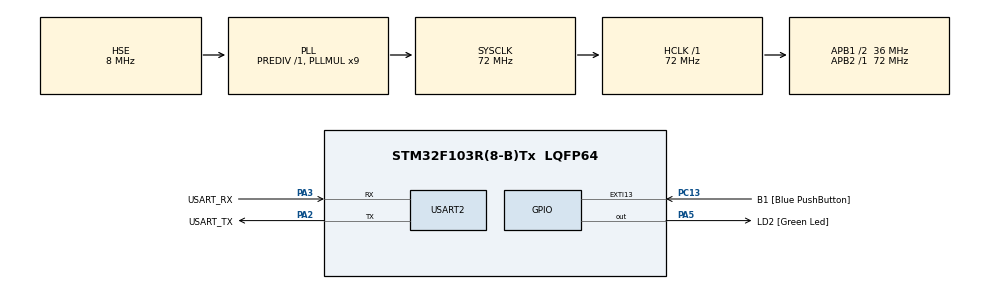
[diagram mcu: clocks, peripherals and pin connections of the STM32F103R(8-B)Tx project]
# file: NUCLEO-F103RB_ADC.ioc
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ADC1.Channel-0\#ChannelRegularConversion=ADC_CHANNEL_VREFINT
ADC1.NbrOfConversionFlag=1
ADC1.Rank-0\#ChannelRegularConversion=1
ADC1.SamplingTime-0\#ChannelRegularConversion=ADC_SAMPLETIME_1CYCLE_5
ADC1.master=1
Dma.Request0=USART2_RX
Dma.USART2_RX.0.Direction=DMA_PERIPH_TO_MEMORY
Dma.USART2_RX.0.Instance=DMA1_Channel6
Dma.USART2_RX.0.MemDataAlignment=DMA_MDATAALIGN_BYTE
Dma.USART2_RX.0.MemInc=DMA_MINC_ENABLE
Dma.USART2_RX.0.Mode=DMA_CIRCULAR
Dma.USART2_RX.0.PeriphDataAlignment=DMA_PDATAALIGN_BYTE
Dma.USART2_RX.0.PeriphInc=DMA_PINC_DISABLE
Dma.USART2_RX.0.Priority=DMA_PRIORITY_LOW
Mcu.Family=STM32F1
Mcu.Name=STM32F103R(8-B)Tx
Mcu.Package=LQFP64
NVIC.DMA1_Channel6_IRQn=true\:0\:0\:false\:false\:true\:false\:true\:true
NVIC.EXTI15_10_IRQn=true\:0\:0\:false\:false\:true\:true\:true\:true
NVIC.PriorityGroup=NVIC_PRIORITYGROUP_4
PA13.GPIO_Label=TMS
PA13.Mode=Serial_Wire
PA13.Signal=SYS_JTMS-SWDIO
PA14.GPIO_Label=TCK
PA14.Mode=Serial_Wire
PA14.Signal=SYS_JTCK-SWCLK
PA2.GPIO_Label=USART_TX
PA2.GPIO_Mode=GPIO_MODE_AF_PP
PA2.GPIO_PuPd=GPIO_NOPULL
PA2.GPIO_Speed=GPIO_SPEED_FREQ_LOW
PA2.Mode=Asynchronous
PA2.Signal=USART2_TX
PA3.GPIO_Label=USART_RX
PA3.GPIO_Mode=GPIO_MODE_AF_PP
PA3.GPIO_PuPd=GPIO_NOPULL
PA3.GPIO_Speed=GPIO_SPEED_FREQ_LOW
PA3.Mode=Asynchronous
PA3.Signal=USART2_RX
PA5.GPIO_Label=LD2 [Green Led]
PA5.GPIO_ModeDefaultOutputPP=GPIO_MODE_OUTPUT_PP
PA5.GPIO_PuPd=GPIO_NOPULL
PA5.GPIO_Speed=GPIO_SPEED_FREQ_LOW
PA5.Signal=GPIO_Output
PB3.GPIO_Label=SWO
PB3.Signal=SYS_JTDO-TRACESWO
PC13-TAMPER-RTC.GPIO_Label=B1 [Blue PushButton]
PC13-TAMPER-RTC.GPIO_PuPd=GPIO_NOPULL
PC13-TAMPER-RTC.Signal=GPXTI13
PC14-OSC32_IN.Mode=LSE-External-Oscillator
PC14-OSC32_IN.Signal=RCC_OSC32_IN
PC15-OSC32_OUT.Mode=LSE-External-Oscillator
PC15-OSC32_OUT.Signal=RCC_OSC32_OUT
PD0-OSC_IN.Mode=HSE-External-Clock-Source
PD0-OSC_IN.Signal=RCC_OSC_IN
PD1-OSC_OUT.Mode=HSE-External-Clock-Source
PD1-OSC_OUT.Signal=RCC_OSC_OUT
ProjectManager.HeapSize=0x400
ProjectManager.StackSize=0x400
ProjectManager.TargetToolchain=STM32CubeIDE
RCC.ADCPresc=RCC_ADCPCLK2_DIV6
RCC.AHBFreq_Value=72000000
RCC.APB1CLKDivider=RCC_HCLK_DIV2
RCC.APB1Freq_Value=36000000
RCC.APB1TimFreq_Value=72000000
RCC.APB2Freq_Value=72000000
RCC.APB2TimFreq_Value=72000000
RCC.HCLKFreq_Value=72000000
RCC.PLLMUL=RCC_PLL_MUL9
RCC.PLLSourceVirtual=RCC_PLLSOURCE_HSE
RCC.RTCClockSelection=RCC_RTCCLKSOURCE_LSE
RCC.SYSCLKFreq_VALUE=72000000
RCC.SYSCLKSource=RCC_SYSCLKSOURCE_PLLCLK
RCC.USBFreq_Value=72000000
TIM2.Prescaler=72-1
USART2.VirtualMode=VM_ASYNC
VP_ADC1_Vref_Input.Mode=IN-Vrefint
VP_TIM2_VS_ClockSourceINT.Mode=Internal
board=NUCLEO-F103RB

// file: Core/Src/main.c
/* USER CODE BEGIN Header */
/**
  ******************************************************************************
  * @file           : main.c
  * @brief          : Main program body
  ******************************************************************************
  * @attention
  *
  * Copyright (c) 2023 STMicroelectronics.
  * All rights reserved.
  *
  * This software is licensed under terms that can be found in the LICENSE file
  * in the root directory of this software component.
  * If no LICENSE file comes with this software, it is provided AS-IS.
  *
  ******************************************************************************
  */
/* USER CODE END Header */
#include "main.h"

/* USER CODE BEGIN Includes */
#include <stdio.h> // printf()
#include "command_line.h"

/* USER CODE END Includes */

ADC_HandleTypeDef hadc1;

TIM_HandleTypeDef htim2;

UART_HandleTypeDef huart2;
DMA_HandleTypeDef hdma_usart2_rx;

void SystemClock_Config(void);
static void MX_GPIO_Init(void);
static void MX_DMA_Init(void);
static void MX_USART2_UART_Init(void);
static void MX_ADC1_Init(void);
static void MX_TIM2_Init(void);

/* USER CODE BEGIN 0 */
#define HAL_SMALL_WAIT  40
// Define serial input and output functions using UART2
int __io_putchar(int ch)
{
    HAL_UART_Transmit(&huart2, (uint8_t *)&ch, 1, HAL_SMALL_WAIT);
    return 1;
}

// Use UART DMA receive into buffer vs checking a UART register each time
#if 0
// Read a character from the UART with small timeout
// This function works well if called within a 50ms or shorter loop, but may lose characters if
// data is received with any real speed.
// Use DMA for receive data if trying to perform higher speed communication (anything faster than typing).
// If HAL_UART_Receive() returns error, return EOF (-1), else return the character read
int __io_getchar(void)
{
    uint8_t byte;
    HAL_StatusTypeDef hal_status = HAL_UART_Receive(&huart2, &byte, sizeof(byte), HAL_SMALL_WAIT);
    if(HAL_OK == hal_status)
    {
        return byte;
    }
    else
        return EOF;
}
#else
// Use UART DMA receive buffer
// See: https://merkles.com/MediaWiki/index.php/STM32_-_Using_DMA_for_Serial_Receive
// DMA Buffer for usart2 RX
#define USART2_RX_DMA_BUFFER_SIZE 128
uint8_t usart2_rx_dma_buffer[USART2_RX_DMA_BUFFER_SIZE];

// Implement a get_byte(void) function that utilizes a circular DMA RX buffer that:
// 1) Tests if data is available in the DMA RX buffer
// 2) Pulls and returns the data
// 3) Manages an index_out value for next removal of data
// 4) As a non-blocking function, return EOF when no bytes are available, else returns data byte
int __io_getchar(void)
{
  static uint16_t index_out = 0;
  uint16_t index_in = USART2_RX_DMA_BUFFER_SIZE - huart2.hdmarx->Instance->CNDTR;
  if(index_in == index_out) return EOF;
  // Else, we have a byte in buffer to return
  uint8_t data = usart2_rx_dma_buffer[index_out];
  // advance index
  index_out++;
  // wrap index when necessary
  if(index_out >= USART2_RX_DMA_BUFFER_SIZE) index_out = 0;
  return data;
}
#endif
/* USER CODE END 0 */

int main(void)
{

  /* MCU Configuration--------------------------------------------------------*/

  /* Reset of all peripherals, Initializes the Flash interface and the Systick. */
  HAL_Init();

  /* Configure the system clock */
  SystemClock_Config();

  /* Initialize all configured peripherals */
  MX_GPIO_Init();
  MX_DMA_Init();
  MX_USART2_UART_Init();
  MX_ADC1_Init();
  MX_TIM2_Init();
  /* USER CODE BEGIN 2 */
  // Start TIM2
  HAL_TIM_Base_Start(&htim2);

  /* Put UART2 peripheral in DMA reception mode */
  if (HAL_UART_Receive_DMA(&huart2, usart2_rx_dma_buffer, USART2_RX_DMA_BUFFER_SIZE) != HAL_OK)
  {
    /* Transfer error in reception process */
    printf("HAL_UART_RX_DMA() error!\n");
  }
  //setvbuf(stdout, NULL, _IONBF, 0); // Disable STDOUT stream buffering - done in cl_setup()
  // Initialize command line interface
  cl_setup();

  // Calibrate ADC1
  HAL_StatusTypeDef hal_rc = HAL_ADCEx_Calibration_Start(&hadc1);
  if(HAL_OK != hal_rc) printf("HAL_ADCEx_Calibration_Start() error: %u\n",hal_rc);

  /* USER CODE END 2 */

  /* Infinite loop */
  /* USER CODE BEGIN WHILE */
  while (1)
  {
	cl_loop(); // look for characters from serial port, processing them as they become available
	HAL_Delay(50);
    /* USER CODE END WHILE */

  }
}

void SystemClock_Config(void)
{
  RCC_OscInitTypeDef RCC_OscInitStruct = {0};
  RCC_ClkInitTypeDef RCC_ClkInitStruct = {0};
  RCC_PeriphCLKInitTypeDef PeriphClkInit = {0};

  /** Initializes the RCC Oscillators according to the specified parameters
  * in the RCC_OscInitTypeDef structure.
  */
  RCC_OscInitStruct.OscillatorType = RCC_OSCILLATORTYPE_HSE;
  RCC_OscInitStruct.HSEState = RCC_HSE_BYPASS;
  RCC_OscInitStruct.HSEPredivValue = RCC_HSE_PREDIV_DIV1;
  RCC_OscInitStruct.HSIState = RCC_HSI_ON;
  RCC_OscInitStruct.PLL.PLLState = RCC_PLL_ON;
  RCC_OscInitStruct.PLL.PLLSource = RCC_PLLSOURCE_HSE;
  RCC_OscInitStruct.PLL.PLLMUL = RCC_PLL_MUL9;
  if (HAL_RCC_OscConfig(&RCC_OscInitStruct) != HAL_OK)
  {
    Error_Handler();
  }

  /** Initializes the CPU, AHB and APB buses clocks
  */
  RCC_ClkInitStruct.ClockType = RCC_CLOCKTYPE_HCLK|RCC_CLOCKTYPE_SYSCLK
                              |RCC_CLOCKTYPE_PCLK1|RCC_CLOCKTYPE_PCLK2;
  RCC_ClkInitStruct.SYSCLKSource = RCC_SYSCLKSOURCE_PLLCLK;
  RCC_ClkInitStruct.AHBCLKDivider = RCC_SYSCLK_DIV1;
  RCC_ClkInitStruct.APB1CLKDivider = RCC_HCLK_DIV2;
  RCC_ClkInitStruct.APB2CLKDivider = RCC_HCLK_DIV1;

  if (HAL_RCC_ClockConfig(&RCC_ClkInitStruct, FLASH_LATENCY_2) != HAL_OK)
  {
    Error_Handler();
  }
  PeriphClkInit.PeriphClockSelection = RCC_PERIPHCLK_ADC;
  PeriphClkInit.AdcClockSelection = RCC_ADCPCLK2_DIV6;
  if (HAL_RCCEx_PeriphCLKConfig(&PeriphClkInit) != HAL_OK)
  {
    Error_Handler();
  }
}

static void MX_ADC1_Init(void)
{

  ADC_ChannelConfTypeDef sConfig = {0};

  /** Common config
  */
  hadc1.Instance = ADC1;
  hadc1.Init.ScanConvMode = ADC_SCAN_DISABLE;
  hadc1.Init.ContinuousConvMode = DISABLE;
  hadc1.Init.DiscontinuousConvMode = DISABLE;
  hadc1.Init.ExternalTrigConv = ADC_SOFTWARE_START;
  hadc1.Init.DataAlign = ADC_DATAALIGN_RIGHT;
  hadc1.Init.NbrOfConversion = 1;
  if (HAL_ADC_Init(&hadc1) != HAL_OK)
  {
    Error_Handler();
  }

  /** Configure Regular Channel
  */
  sConfig.Channel = ADC_CHANNEL_VREFINT;
  sConfig.Rank = ADC_REGULAR_RANK_1;
  sConfig.SamplingTime = ADC_SAMPLETIME_1CYCLE_5;
  if (HAL_ADC_ConfigChannel(&hadc1, &sConfig) != HAL_OK)
  {
    Error_Handler();
  }

}

static void MX_TIM2_Init(void)
{

  TIM_ClockConfigTypeDef sClockSourceConfig = {0};
  TIM_MasterConfigTypeDef sMasterConfig = {0};

  htim2.Instance = TIM2;
  htim2.Init.Prescaler = 72-1;
  htim2.Init.CounterMode = TIM_COUNTERMODE_UP;
  htim2.Init.Period = 65535;
  htim2.Init.ClockDivision = TIM_CLOCKDIVISION_DIV1;
  htim2.Init.AutoReloadPreload = TIM_AUTORELOAD_PRELOAD_DISABLE;
  if (HAL_TIM_Base_Init(&htim2) != HAL_OK)
  {
    Error_Handler();
  }
  sClockSourceConfig.ClockSource = TIM_CLOCKSOURCE_INTERNAL;
  if (HAL_TIM_ConfigClockSource(&htim2, &sClockSourceConfig) != HAL_OK)
  {
    Error_Handler();
  }
  sMasterConfig.MasterOutputTrigger = TIM_TRGO_RESET;
  sMasterConfig.MasterSlaveMode = TIM_MASTERSLAVEMODE_DISABLE;
  if (HAL_TIMEx_MasterConfigSynchronization(&htim2, &sMasterConfig) != HAL_OK)
  {
    Error_Handler();
  }

}

static void MX_USART2_UART_Init(void)
{

  huart2.Instance = USART2;
  huart2.Init.BaudRate = 115200;
  huart2.Init.WordLength = UART_WORDLENGTH_8B;
  huart2.Init.StopBits = UART_STOPBITS_1;
  huart2.Init.Parity = UART_PARITY_NONE;
  huart2.Init.Mode = UART_MODE_TX_RX;
  huart2.Init.HwFlowCtl = UART_HWCONTROL_NONE;
  huart2.Init.OverSampling = UART_OVERSAMPLING_16;
  if (HAL_UART_Init(&huart2) != HAL_OK)
  {
    Error_Handler();
  }

}

static void MX_DMA_Init(void)
{

  /* DMA controller clock enable */
  __HAL_RCC_DMA1_CLK_ENABLE();

  /* DMA interrupt init */
  /* DMA1_Channel6_IRQn interrupt configuration */
  HAL_NVIC_SetPriority(DMA1_Channel6_IRQn, 0, 0);
  HAL_NVIC_EnableIRQ(DMA1_Channel6_IRQn);

}

static void MX_GPIO_Init(void)
{
  GPIO_InitTypeDef GPIO_InitStruct = {0};

  /* GPIO Ports Clock Enable */
  __HAL_RCC_GPIOC_CLK_ENABLE();
  __HAL_RCC_GPIOD_CLK_ENABLE();
  __HAL_RCC_GPIOA_CLK_ENABLE();
  __HAL_RCC_GPIOB_CLK_ENABLE();

  /*Configure GPIO pin Output Level */
  HAL_GPIO_WritePin(LD2_GPIO_Port, LD2_Pin, GPIO_PIN_RESET);

  /*Configure GPIO pin : B1_Pin */
  GPIO_InitStruct.Pin = B1_Pin;
  GPIO_InitStruct.Mode = GPIO_MODE_IT_RISING;
  GPIO_InitStruct.Pull = GPIO_NOPULL;
  HAL_GPIO_Init(B1_GPIO_Port, &GPIO_InitStruct);

  /*Configure GPIO pin : LD2_Pin */
  GPIO_InitStruct.Pin = LD2_Pin;
  GPIO_InitStruct.Mode = GPIO_MODE_OUTPUT_PP;
  GPIO_InitStruct.Pull = GPIO_NOPULL;
  GPIO_InitStruct.Speed = GPIO_SPEED_FREQ_LOW;
  HAL_GPIO_Init(LD2_GPIO_Port, &GPIO_InitStruct);

  /* EXTI interrupt init*/
  HAL_NVIC_SetPriority(EXTI15_10_IRQn, 0, 0);
  HAL_NVIC_EnableIRQ(EXTI15_10_IRQn);

}

void Error_Handler(void)
{
  __disable_irq();
  while (1)
  {
  }
}
